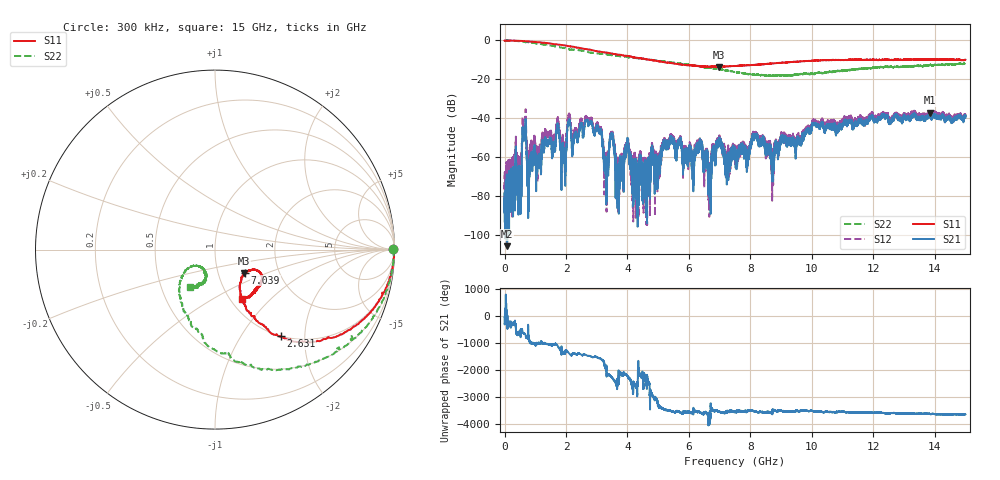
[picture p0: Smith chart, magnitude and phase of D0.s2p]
!Agilent Technologies,N5230C,SG49000117,A.08.50.07
!Agilent N5230C: A.08.50.07
!Date: Monday, December 11, 2023 23:17:43
!Correction: S11(Full 2 Port(1,2))
!S21(Full 2 Port(1,2))
!S12(Full 2 Port(1,2))
!S22(Full 2 Port(1,2))
!S2P File: Measurements: S11, S21, S12, S22:
# Hz S  RI  R 50
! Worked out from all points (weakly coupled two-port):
!   20001 points, 300 kHz to 15 GHz, reference 50 ohm
!   highest |S21| = -37.19 dB at 13.84 GHz (marker M1); lowest = -105.9 dB at 84.3 MHz (marker M2)
!   lowest |S11| = -13.6 dB at 6.974 GHz (marker M3), VSWR 1.53, Z = 66.7 - j18.3 ohm
!   |S11| at or under -10 dB: 4.744 GHz to 10.61 GHz (5.867 GHz wide, 76.4 % of centre); 11 GHz to 11.08 GHz (77.51 MHz wide, 0.702 % of centre); 14.84 GHz to 14.98 GHz (142.9 MHz wide, 0.958 % of centre) (the widest 3 of 192)
!   |S22| runs from -18.4 to 0.0 dB; largest |S21 - S12| = 0.0081
!   S11 on the Smith chart (normalised r, x): 300 kHz: open; 2.631 GHz: 0.99, -1.52; 7.039 GHz: 1.35, -0.36; 15 GHz: 1.14, -0.70
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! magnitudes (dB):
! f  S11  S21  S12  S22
! 300 kHz  -0.1  -81.9  -67.6  -0.1
! 84.3 MHz  0.0  -105.9  -68.5  -0.1
! 484 MHz  -0.2  -70.1  -62.1  -0.4
! 637.8 MHz  -0.3  -50.4  -45.3  -0.6
! 797.5 MHz  -0.5  -68.8  -59.4  -0.9
! 2.501 GHz  -4.1  -42.6  -40.8  -5.2
! 2.631 GHz  -4.4  -41.5  -39.5  -5.6
! 3.091 GHz  -5.8  -47.3  -45.6  -6.8
! 3.302 GHz  -6.2  -70.1  -67.1  -7.1
! 3.504 GHz  -6.7  -48.9  -48.9  -7.6
! 3.674 GHz  -7.3  -80.9  -68.0  -7.9
! 3.977 GHz  -7.9  -53.3  -53.5  -8.4
! 5 GHz  -10.7  -63.0  -71.4  -10.4
! 5.439 GHz  -11.7  -50.5  -49.7  -11.3
! 6.683 GHz  -13.5  -67.2  -73.8  -14.1
! 6.974 GHz  -13.6  -51.3  -50.8  -14.8
! 7.039 GHz  -13.5  -52.8  -51.8  -14.9
! 7.5 GHz  -13.1  -60.7  -59.0  -16.3
! 10 GHz  -10.4  -44.1  -43.4  -17.0
! 12.5 GHz  -9.9  -41.2  -41.7  -13.7
! 13.84 GHz  -9.9  -37.2  -37.7  -12.6
! 15 GHz  -9.9  -39.6  -39.0  -12.0
